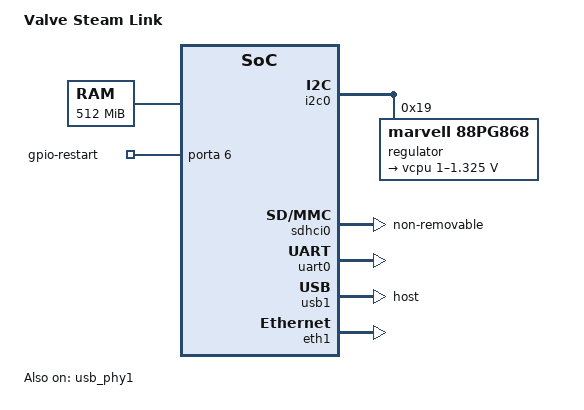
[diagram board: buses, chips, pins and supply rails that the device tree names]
/dts-v1/;
#include "berlin2cd.dtsi"
#include <dt-bindings/gpio/gpio.h>
/ {
	model = "Valve Steam Link";
	compatible = "valve,steamlink", "marvell,berlin2cd", "marvell,berlin";
	memory@0 {
		device_type = "memory";
		reg = <0x00000000 0x20000000>;  
	};
	gpio-restart {
		compatible = "gpio-restart";
		gpios = <&porta 6 GPIO_ACTIVE_HIGH>;
		active-delay = <100>;
		inactive-delay = <10>;
		wait-delay = <100>;
		priority = <200>;
	};
};
&cpu {
	cpu-supply = <&vcpu>;
	operating-points = <
		1000000 1325000
	>;
};
&i2c0 {
	status = "okay";
	regulator@19 {
		compatible = "marvell,88pg868";
		reg = <0x19>;
		vcpu: buck1 {
			regulator-boot-on;
			regulator-always-on;
			regulator-min-microvolt = <1000000>;
			regulator-max-microvolt = <1325000>;
		};
	};
};
&sdhci0 {
	keep-power-in-suspend;
	non-removable;
	status = "okay";
};
&uart0 {
	status = "okay";
};
&usb_phy1 { status = "okay"; };
&usb1 {
	dr_mode = "host";
	status = "okay";
};
&eth1 { status = "okay"; };
